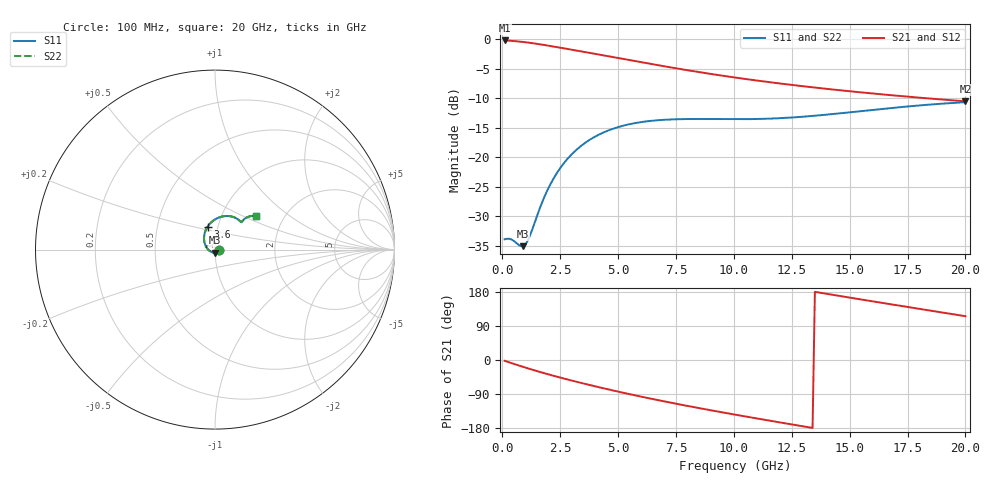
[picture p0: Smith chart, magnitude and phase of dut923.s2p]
! Touchstone file exported from HFSS 2024.1.0
!  File:  C:/UserFiles/LocalFiles/RDL_TSV_Batchsim/temp_RDL_TSV_923_1779958701.aedt
!  Generated:  05:11:41 PM May 28, 2026
!  Design:  RDL_TSV
!  Project:  temp_RDL_TSV_923_1779958701
!  Setup:  Setup1
!  Solution:  Sweep
! Variables:
!  dtsv = 10.69um
!  hbump = 3um
!  htsv = 90.84um
!  ldown = 314.56um
!  lrdl = 621.85um
!  p = 40
!  p1 = 42.22um
!  rhole = 10um
!  subl = 3431.08um
!  t = 450um
!  tdown = 3.02um
!  trdl = 2.49um
!  viad = 10um
!  wdown = 21.19um
!  wrdl = 24.43um
!  xbump = 18um
# GHz S MA R 50.000000
! Terminal data exported
! Port[1] = TM1_1_T1
! Port[2] = TM1_4_T1
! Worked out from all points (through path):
!   200 points, 100 MHz to 20 GHz, reference 50 ohm
!   highest |S21| = -0.18 dB at 100 MHz (marker M1); lowest = -10.5 dB at 20 GHz (marker M2)
!   group delay of S21, straight-line fit = 32.3 ps
!   lowest |S11| = -35.0 dB at 900 MHz (marker M3), VSWR 1.04, Z = 49.9 - j1.77 ohm
!   |S11| at or under -10 dB: start of sweep to end of sweep
!   |S22| runs from -35.0 to -10.6 dB; largest |S21 - S12| = 1.7e-14
!   S11 on the Smith chart (normalised r, x): 100 MHz: 1.04, -0.00; 3.6 GHz: 0.89, +0.23; 20 GHz: 1.45, +0.59
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0.1  0.02027 -5.3  0.9791 -2.1  0.9791 -2.1  0.02027 -5.3
! Gamma 0 0 0 0
! Port Impedance 50 0 50 0
0.4  0.02018 -27.9  0.9717 -8.3  0.9717 -8.3  0.02018 -28.0
0.8  0.01774 -76.0  0.9557 -16.2  0.9557 -16.2  0.01776 -76.0
0.9  0.01771 -91.3  0.9509 -18.2  0.9509 -18.2  0.01773 -91.3
1.1  0.01972 -122.6  0.9404 -22.0  0.9404 -22.0  0.01974 -122.6
1.8  0.04541 169.8  0.8974 -34.6  0.8974 -34.6  0.0454 169.9
2.2  0.06555 150.0  0.8708 -41.4  0.8708 -41.4  0.06552 150.1
2.8  0.09648 128.8  0.8308 -51.2  0.8308 -51.2  0.09642 128.9
3.5  0.1296 110.4  0.7856 -61.9  0.7856 -61.9  0.1295 110.5
3.6  0.1339 108.2  0.7792 -63.4  0.7792 -63.4  0.1338 108.2
4.3  0.1604 94.2  0.7361 -73.7  0.7361 -73.7  0.1603 94.2
5  0.1806 82.8  0.6951 -83.4  0.6951 -83.4  0.1805 82.8
5.9  0.1979 71.1  0.6458 -95.4  0.6458 -95.4  0.1977 71.2
6.8  0.2072 62.2  0.6008 -106.8  0.6008 -106.8  0.2071 62.3
8.4  0.2116 51.9  0.532 -125.8  0.532 -125.8  0.2115 52.0
10.1  0.2108 47.0  0.4736 -144.7  0.4736 -144.7  0.2108 47.1
11.7  0.2137 46.0  0.4299 -161.7  0.4299 -161.7  0.2138 46.1
13.4  0.2247 46.2  0.3925 -179.2  0.3925 -179.2  0.2247 46.3
15.1  0.2422 45.9  0.362 163.7  0.362 163.7  0.2423 46.0
16.7  0.261 44.5  0.3379 147.8  0.3379 147.8  0.2612 44.5
18.3  0.2787 42.1  0.3174 132.1  0.3174 132.1  0.2789 42.2
20  0.2938 39.1  0.2988 115.6  0.2988 115.6  0.294 39.1
